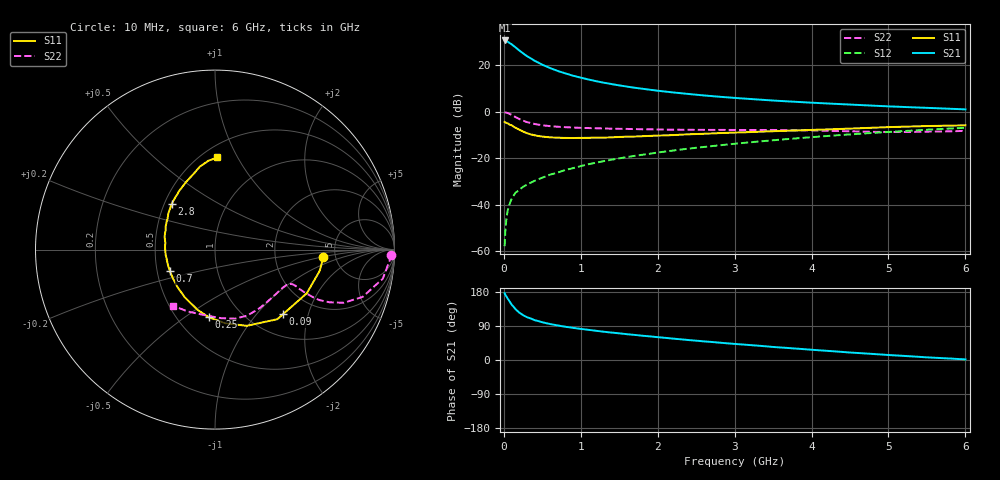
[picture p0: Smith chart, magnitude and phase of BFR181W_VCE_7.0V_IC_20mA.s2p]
! Infineon Technologies  Discrete & RF Semiconductors
! BFR181W
! VCE =  7.0 V,  IC =  20 mA
! Common Emitter S-Parameters:  Jan 2017
# GHz  S  MA  R  50
!  f  S11  S21  S12  S22
! GHz  MAG  ANG  MAG  ANG  MAG  ANG  MAG  ANG
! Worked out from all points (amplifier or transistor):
!   77 points, 10 MHz to 6 GHz, reference 50 ohm
!   highest |S21| = 30.7 dB at 10 MHz (marker M1)
!   |S21| within 3 dB of that: start of sweep to 153.9 MHz
!   unconditionally stable (mu >= 1): 685.2 MHz to 2.621 GHz
!   at 130 MHz: K = 0.40, MSG = 32.0 dB, |S12| = -35.8 dB
!   at 2.2 GHz: K = 1.04, MAG = 11.3 dB, |S12| = -16.6 dB
!   at 6 GHz: K = 0.83, MSG = 4.0 dB, |S12| = -6.8 dB
!   S11 on the Smith chart (normalised r, x): 10 MHz: 3.99, -0.53; 90 MHz: 1.42, -1.40; 250 MHz: 0.71, -0.62; 700 MHz: 0.58, -0.15; 2.8 GHz: 0.55, +0.31; 6 GHz: 0.59, +0.83
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0.01  0.6053 -4.0  34.28 176.2  0.0013 74.7  0.9799 -1.6
0.02  0.5951 -11.5  33.9 172.0  0.0029 97.2  0.9748 -3.6
0.05  0.5664 -25.4  32.28 161.9  0.0076 80.0  0.9484 -9.9
0.09  0.5229 -43.3  29.1 149.7  0.0122 74.1  0.8798 -16.0
0.1  0.5207 -48.1  28.53 146.3  0.0134 73.3  0.8644 -17.7
0.15  0.4601 -67.4  24.57 134.4  0.0182 67.4  0.7767 -22.4
0.2  0.4138 -82.2  20.97 125.2  0.0209 66.3  0.7032 -24.7
0.25  0.3782 -95.3  18.13 118.3  0.0246 65.2  0.6473 -25.8
0.3  0.3491 -106.2  15.81 113.0  0.0272 63.7  0.604 -25.9
0.4  0.3143 -122.6  12.54 105.1  0.0331 65.6  0.5493 -25.5
0.5  0.2946 -135.6  10.31 99.5  0.0385 67.0  0.5156 -24.9
0.6  0.2838 -145.9  8.755 95.0  0.0447 68.0  0.4943 -24.3
0.7  0.2784 -154.4  7.585 91.2  0.0496 70.2  0.4792 -24.1
0.9  0.2742 -168.4  5.992 84.8  0.0618 71.2  0.4607 -24.6
1.1  0.2771 -178.4  4.967 79.6  0.0751 72.2  0.4493 -25.7
1.5  0.2891 166.0  3.709 70.4  0.1003 72.6  0.4322 -29.6
2.1  0.3128 148.7  2.733 58.4  0.1407 71.2  0.4165 -38.6
2.8  0.3497 133.7  2.117 45.8  0.1908 68.0  0.4102 -51.5
3.1  0.3632 128.1  1.945 41.0  0.2141 66.0  0.4082 -57.1
4.1  0.4146 111.7  1.547 25.6  0.2943 58.8  0.3958 -76.0
5.1  0.4753 99.0  1.294 12.0  0.3788 49.8  0.3691 -101.7
6  0.5139 88.6  1.133 1.6  0.4555 40.7  0.3906 -126.6
